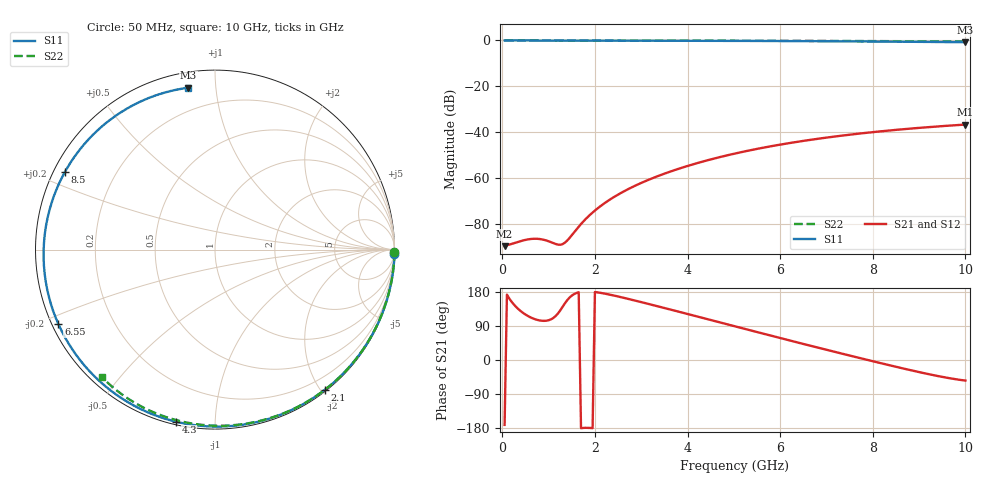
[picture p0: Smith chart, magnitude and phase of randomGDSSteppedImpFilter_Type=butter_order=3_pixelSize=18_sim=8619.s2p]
! freq	dB(S11)	phase(S11)	dB(S12)	phase(S12)
!  dB(S21)	phase(S21)	dB(S22)	phase(S22)
!S-par simulation data
#  GHz  S  DB  R 50
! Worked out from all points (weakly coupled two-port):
!   200 points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, 50 MHz to 10 GHz, reference 50 ohm
!   highest |S21| = -36.58 dB at 10 GHz (marker M1); lowest = -89.5 dB at 50 MHz (marker M2)
!   lowest |S11| = -0.8 dB at 10 GHz (marker M3), VSWR 22.26, Z = 3.86 + j42.3 ohm
!   |S11| at or under -10 dB: nowhere
!   |S22| runs from -0.4 to 0.0 dB; largest |S21 - S12| = 0
!   S11 on the Smith chart (normalised r, x): 50 MHz: 0, -91; 2.1 GHz: 0.02, -2.06; 4.3 GHz: 0.01, -0.80; 6.55 GHz: 0.02, -0.23; 8.5 GHz: 0.03, +0.24; 10 GHz: 0.08, +0.85
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0.05  -0.00 -1.3  -89.49 -171.3  -89.49 -171.3  -0.00 -0.8
0.85  -0.02 -21.3  -86.51 103.6  -86.51 103.6  -0.01 -12.8
1.65  -0.05 -41.0  -81.00 178.8  -81.00 178.8  -0.03 -24.7
1.7  -0.05 -42.2  -79.84 -180.0  -79.84 -180.0  -0.03 -25.5
1.75  -0.05 -43.4  -78.74 -179.2  -78.74 -179.2  -0.03 -26.2
2.1  -0.07 -51.8  -72.38 177.6  -72.38 177.6  -0.04 -31.3
2.65  -0.08 -64.9  -65.39 163.3  -65.39 163.3  -0.05 -39.3
3.4  -0.11 -82.3  -58.69 140.4  -58.69 140.4  -0.07 -49.9
4.3  -0.15 -102.8  -52.84 112.0  -52.84 112.0  -0.09 -62.2
5.05  -0.19 -119.8  -49.07 88.1  -49.07 88.1  -0.11 -72.2
5.8  -0.24 -136.9  -46.03 64.3  -46.03 64.3  -0.14 -81.9
6.55  -0.30 -154.6  -43.54 40.8  -43.54 40.8  -0.17 -91.2
6.7  -0.31 -158.2  -43.10 36.2  -43.10 36.2  -0.18 -93.1
7.15  -0.36 -169.5  -41.87 22.4  -41.87 22.4  -0.20 -98.5
7.55  -0.40 -180.0  -40.88 10.2  -40.88 10.2  -0.23 -103.3
7.95  -0.45 169.0  -39.98 -1.8  -39.98 -1.8  -0.26 -108.0
8.35  -0.50 157.3  -39.18 -13.6  -39.18 -13.6  -0.29 -112.6
8.5  -0.52 152.7  -38.89 -17.9  -38.89 -17.9  -0.30 -114.4
8.9  -0.58 139.9  -38.19 -29.2  -38.19 -29.2  -0.33 -119.0
9.25  -0.64 127.9  -37.64 -38.5  -37.64 -38.5  -0.37 -123.0
9.65  -0.71 113.2  -37.05 -47.9  -37.05 -47.9  -0.41 -127.5
10  -0.78 99.3  -36.58 -54.3  -36.58 -54.3  -0.45 -131.4
